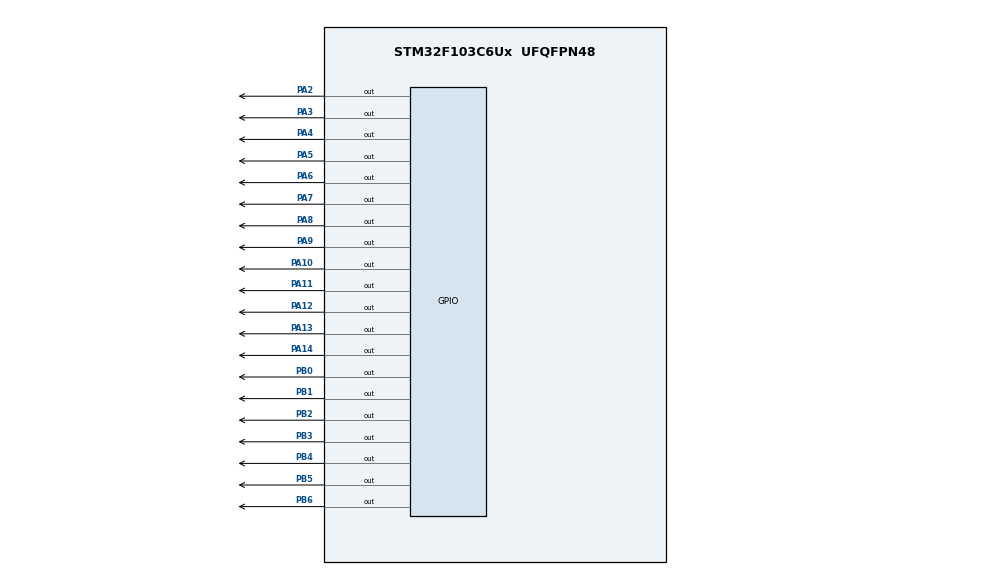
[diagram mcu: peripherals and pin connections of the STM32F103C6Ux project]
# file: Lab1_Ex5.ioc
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Mcu.Family=STM32F1
Mcu.Name=STM32F103C6Ux
Mcu.Package=UFQFPN48
NVIC.PriorityGroup=NVIC_PRIORITYGROUP_4
PA10.Signal=GPIO_Output
PA11.Signal=GPIO_Output
PA12.Signal=GPIO_Output
PA13.Signal=GPIO_Output
PA14.Signal=GPIO_Output
PA2.Signal=GPIO_Output
PA3.Signal=GPIO_Output
PA4.Signal=GPIO_Output
PA5.Signal=GPIO_Output
PA6.Signal=GPIO_Output
PA7.Signal=GPIO_Output
PA8.Signal=GPIO_Output
PA9.Signal=GPIO_Output
PB0.Signal=GPIO_Output
PB1.Signal=GPIO_Output
PB2.Signal=GPIO_Output
PB3.Signal=GPIO_Output
PB4.Signal=GPIO_Output
PB5.Signal=GPIO_Output
PB6.Signal=GPIO_Output
ProjectManager.HeapSize=0x200
ProjectManager.StackSize=0x400
ProjectManager.TargetToolchain=STM32CubeIDE
RCC.APB1Freq_Value=8000000
RCC.APB2Freq_Value=8000000
VP_SYS_VS_ND.Mode=No_Debug
board=custom

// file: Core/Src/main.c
/* USER CODE BEGIN Header */
/**
  ******************************************************************************
  * @file           : main.c
  * @brief          : Main program body
  ******************************************************************************
  * @attention
  *
  * <h2><center>&copy; Copyright (c) 2024 STMicroelectronics.
  * All rights reserved.</center></h2>
  *
  * This software component is licensed by ST under BSD 3-Clause license,
  * the "License"; You may not use this file except in compliance with the
  * License. You may obtain a copy of the License at:
  *                        opensource.org/licenses/BSD-3-Clause
  *
  ******************************************************************************
  */
/* USER CODE END Header */
#include "main.h"

/* USER CODE BEGIN PV */
uint8_t led7segment[10] = {0xC0,0xF9,0xA4,0xB0,0x99,0x92};
  int counter1 = 3;
  int counter2 = 5;
  int count = 3;
/* USER CODE END PV */

void SystemClock_Config(void);
static void MX_GPIO_Init(void);

/* USER CODE BEGIN 0 */
void led7segmentdisplay (uint8_t n);
void led7segmentdisplay1 (uint8_t n);
/* USER CODE END 0 */

int main(void)
{

  /* MCU Configuration--------------------------------------------------------*/

  /* Reset of all peripherals, Initializes the Flash interface and the Systick. */
  HAL_Init();

  /* Configure the system clock */
  SystemClock_Config();

  /* Initialize all configured peripherals */
  MX_GPIO_Init();

  /* Infinite loop */
  /* USER CODE BEGIN WHILE */
  while (1)
  {

	  	  if (counter1 > 1 && count == 3 && counter2 > 1){
	  		HAL_GPIO_WritePin(GPIOA, GPIO_PIN_7, GPIO_PIN_SET);
	  		HAL_GPIO_WritePin(GPIOA, GPIO_PIN_6, GPIO_PIN_RESET);
	  		HAL_GPIO_WritePin(GPIOA, GPIO_PIN_5, GPIO_PIN_RESET);
	  	    HAL_GPIO_WritePin(GPIOA, GPIO_PIN_2, GPIO_PIN_SET);
	  		HAL_GPIO_WritePin(GPIOA, GPIO_PIN_3, GPIO_PIN_RESET);
	  		HAL_GPIO_WritePin(GPIOA, GPIO_PIN_4, GPIO_PIN_RESET);

	  	  }
	  		//vang
	  		if (counter1 > 1 && count == 2 && counter2 > 1){
	  		HAL_GPIO_WritePin(GPIOA, GPIO_PIN_6, GPIO_PIN_SET);
	  		HAL_GPIO_WritePin(GPIOA, GPIO_PIN_7, GPIO_PIN_RESET);
	  		HAL_GPIO_WritePin(GPIOA, GPIO_PIN_5, GPIO_PIN_RESET);
	  		HAL_GPIO_WritePin(GPIOA, GPIO_PIN_2, GPIO_PIN_SET);
	  		HAL_GPIO_WritePin(GPIOA, GPIO_PIN_3, GPIO_PIN_RESET);
	  		HAL_GPIO_WritePin(GPIOA, GPIO_PIN_4, GPIO_PIN_RESET);

	  		}

	  			  	  		  //do
	  		if (counter1 > 1 && count == 5 && counter2 > 1){

	  			if (counter1 > 2){
	  				HAL_GPIO_WritePin(GPIOA, GPIO_PIN_5, GPIO_PIN_SET); //do
	  				HAL_GPIO_WritePin(GPIOA, GPIO_PIN_6, GPIO_PIN_RESET); //
	  				HAL_GPIO_WritePin(GPIOA, GPIO_PIN_7, GPIO_PIN_RESET); //
	  				HAL_GPIO_WritePin(GPIOA, GPIO_PIN_4, GPIO_PIN_SET); //xanh
	  				HAL_GPIO_WritePin(GPIOA, GPIO_PIN_2, GPIO_PIN_RESET); //
	  				HAL_GPIO_WritePin(GPIOA, GPIO_PIN_3, GPIO_PIN_RESET); //

	  			} else {
	  				HAL_GPIO_WritePin(GPIOA, GPIO_PIN_5, GPIO_PIN_SET); //do
	  				HAL_GPIO_WritePin(GPIOA, GPIO_PIN_6, GPIO_PIN_RESET); //
	  				HAL_GPIO_WritePin(GPIOA, GPIO_PIN_7, GPIO_PIN_RESET); //
	  				HAL_GPIO_WritePin(GPIOA, GPIO_PIN_3, GPIO_PIN_SET); //xanh
	  				HAL_GPIO_WritePin(GPIOA, GPIO_PIN_2, GPIO_PIN_RESET); //
	  				HAL_GPIO_WritePin(GPIOA, GPIO_PIN_4, GPIO_PIN_RESET); //

	  			}
	  		}
	  		led7segmentdisplay(counter1);
	  		led7segmentdisplay1(counter2);
	  			counter1--;
	  			counter2--;
	  			if (counter1 <= 0 && count == 3) {
	  				count = 2;
	  				counter1 = 2;
	  			}

	  			if (counter1 <= 0 && count == 2) {
	  				count = 5;
	  				counter1 = 5;
	  			}
	  			if (counter1 <= 0 && count == 5) {
	  				count = 3;
	  				counter1 = 3;
	  			}
	  			if (counter2 <= 0 && count == 3){
	  				counter2 = 5;
	  			}
	  			if (counter2 <= 0 && count == 2) {
	  				counter2 = 5;
	  			}
	  			if (counter2 <= 0 && count == 5){
	  				if (counter1 > 2){
	  					counter2 = 3;
	  				} else {
	  					counter2 = 2;
	  				}

	  			}

	  			HAL_Delay(1000);

	  }

    /* USER CODE END WHILE */

}

void SystemClock_Config(void)
{
  RCC_OscInitTypeDef RCC_OscInitStruct = {0};
  RCC_ClkInitTypeDef RCC_ClkInitStruct = {0};

  /** Initializes the RCC Oscillators according to the specified parameters
  * in the RCC_OscInitTypeDef structure.
  */
  RCC_OscInitStruct.OscillatorType = RCC_OSCILLATORTYPE_HSI;
  RCC_OscInitStruct.HSIState = RCC_HSI_ON;
  RCC_OscInitStruct.HSICalibrationValue = RCC_HSICALIBRATION_DEFAULT;
  RCC_OscInitStruct.PLL.PLLState = RCC_PLL_NONE;
  if (HAL_RCC_OscConfig(&RCC_OscInitStruct) != HAL_OK)
  {
    Error_Handler();
  }
  /** Initializes the CPU, AHB and APB buses clocks
  */
  RCC_ClkInitStruct.ClockType = RCC_CLOCKTYPE_HCLK|RCC_CLOCKTYPE_SYSCLK
                              |RCC_CLOCKTYPE_PCLK1|RCC_CLOCKTYPE_PCLK2;
  RCC_ClkInitStruct.SYSCLKSource = RCC_SYSCLKSOURCE_HSI;
  RCC_ClkInitStruct.AHBCLKDivider = RCC_SYSCLK_DIV1;
  RCC_ClkInitStruct.APB1CLKDivider = RCC_HCLK_DIV1;
  RCC_ClkInitStruct.APB2CLKDivider = RCC_HCLK_DIV1;

  if (HAL_RCC_ClockConfig(&RCC_ClkInitStruct, FLASH_LATENCY_0) != HAL_OK)
  {
    Error_Handler();
  }
}

static void MX_GPIO_Init(void)
{
  GPIO_InitTypeDef GPIO_InitStruct = {0};

  /* GPIO Ports Clock Enable */
  __HAL_RCC_GPIOA_CLK_ENABLE();
  __HAL_RCC_GPIOB_CLK_ENABLE();

  /*Configure GPIO pin Output Level */
  HAL_GPIO_WritePin(GPIOA, GPIO_PIN_2|GPIO_PIN_3|GPIO_PIN_4|GPIO_PIN_5
                          |GPIO_PIN_6|GPIO_PIN_7|GPIO_PIN_8|GPIO_PIN_9
                          |GPIO_PIN_10|GPIO_PIN_11|GPIO_PIN_12|GPIO_PIN_13
                          |GPIO_PIN_14, GPIO_PIN_RESET);

  /*Configure GPIO pin Output Level */
  HAL_GPIO_WritePin(GPIOB, GPIO_PIN_0|GPIO_PIN_1|GPIO_PIN_2|GPIO_PIN_3
                          |GPIO_PIN_4|GPIO_PIN_5|GPIO_PIN_6, GPIO_PIN_RESET);

  /*Configure GPIO pins : PA2 PA3 PA4 PA5
                           PA6 PA7 PA8 PA9
                           PA10 PA11 PA12 PA13
                           PA14 */
  GPIO_InitStruct.Pin = GPIO_PIN_2|GPIO_PIN_3|GPIO_PIN_4|GPIO_PIN_5
                          |GPIO_PIN_6|GPIO_PIN_7|GPIO_PIN_8|GPIO_PIN_9
                          |GPIO_PIN_10|GPIO_PIN_11|GPIO_PIN_12|GPIO_PIN_13
                          |GPIO_PIN_14;
  GPIO_InitStruct.Mode = GPIO_MODE_OUTPUT_PP;
  GPIO_InitStruct.Pull = GPIO_NOPULL;
  GPIO_InitStruct.Speed = GPIO_SPEED_FREQ_LOW;
  HAL_GPIO_Init(GPIOA, &GPIO_InitStruct);

  /*Configure GPIO pins : PB0 PB1 PB2 PB3
                           PB4 PB5 PB6 */
  GPIO_InitStruct.Pin = GPIO_PIN_0|GPIO_PIN_1|GPIO_PIN_2|GPIO_PIN_3
                          |GPIO_PIN_4|GPIO_PIN_5|GPIO_PIN_6;
  GPIO_InitStruct.Mode = GPIO_MODE_OUTPUT_PP;
  GPIO_InitStruct.Pull = GPIO_NOPULL;
  GPIO_InitStruct.Speed = GPIO_SPEED_FREQ_LOW;
  HAL_GPIO_Init(GPIOB, &GPIO_InitStruct);

}

/* USER CODE BEGIN 4 */
void led7segmentdisplay (uint8_t n){
	uint8_t numberCode = led7segment[n];
	uint32_t pin0 = GPIO_PIN_0;
	for(uint8_t i = 0; i < 8 ; i++)
	{
		uint32_t pin = pin0 << i;
		uint8_t value = (numberCode >> i) & 0x01;
		HAL_GPIO_WritePin(GPIOB, pin , value);
	}
}
void led7segmentdisplay1 (uint8_t n){
	uint8_t numberCode = led7segment[n];
		uint32_t pin8 = GPIO_PIN_8;
		for(uint8_t i = 0; i < 8 ; i++)
		{
			uint32_t pin = pin8 << i;
			uint8_t value = (numberCode >> i) & 0x01;
			HAL_GPIO_WritePin(GPIOA, pin , value);
		}
}
/* USER CODE END 4 */

void Error_Handler(void)
{
  __disable_irq();
  while (1)
  {
  }
}

/************************ (C) COPYRIGHT STMicroelectronics *****END OF FILE****/
